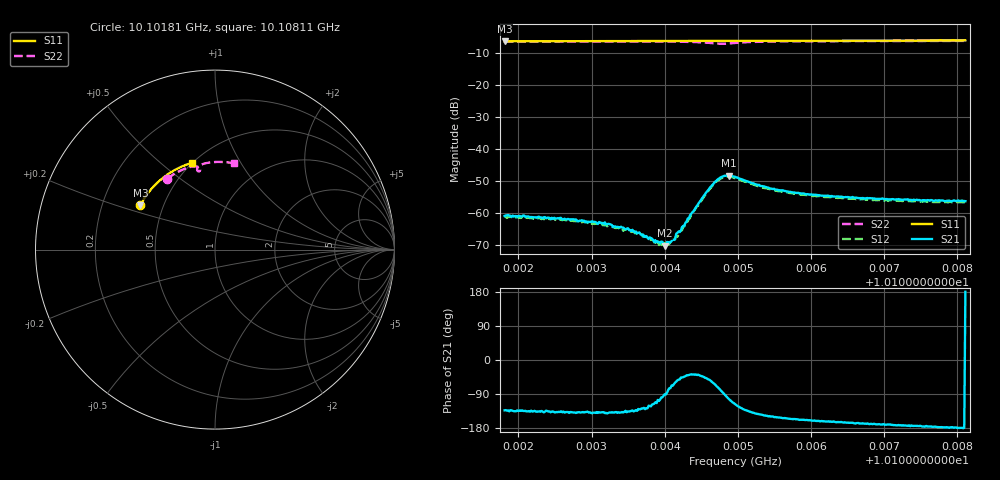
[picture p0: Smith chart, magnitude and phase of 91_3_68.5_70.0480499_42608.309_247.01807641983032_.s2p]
#  HZ  S  RI  R  50.00
! Rohde & Schwarz Vector Network Analyzer
! Rohde-Schwarz,ZNB20-2Port,1311601062101988,3.16
! Created: UTC 3/20/2024, 5:07:49 PM
! freq[Hz]  re:S11  im:S11  re:S21  im:S21  re:S12  im:S12  re:S22  im:S22
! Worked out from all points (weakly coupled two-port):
!   401 points, 10.10181 GHz to 10.10811 GHz, reference 50 ohm
!   highest |S21| = -48.23 dB at 10.10488 GHz (marker M1); lowest = -70.1 dB at 10.104 GHz (marker M2)
!   lowest |S11| = -6.3 dB at 10.10181 GHz (marker M3), VSWR 2.88, Z = 18.5 + j12 ohm
!   |S11| at or under -10 dB: nowhere
!   |S22| runs from -7.0 to -6.2 dB; largest |S21 - S12| = 0.0004
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1.0101811e10  -0.4161 0.2478  -0.000614 -0.000664  -0.000544 -0.000686  -0.2657 0.3956
1.0102551e10  -0.3932 0.2866  -0.000601 -0.000565  -0.00054 -0.000576  -0.2255 0.4224
1.0102866e10  -0.3825 0.3024  -0.000579 -0.00052  -0.000495 -0.000527  -0.2073 0.4325
1.0103212e10  -0.3698 0.3191  -0.000522 -0.000424  -0.000428 -0.000456  -0.1866 0.4426
1.0103323e10  -0.3657 0.3245  -0.000462 -0.000419  -0.000411 -0.000423  -0.1798 0.4457
1.0103496e10  -0.359 0.3326  -0.000416 -0.000409  -0.000364 -0.000439  -0.1686 0.4502
1.0103921e10  -0.3418 0.3519  -0.000111 -0.000335  -5.15e-05 -0.000316  -0.1399 0.4598
1.0103952e10  -0.3405 0.3533  -5.52e-05 -0.000358  -2.57e-05 -0.000333  -0.1377 0.4604
1.0103999e10  -0.3385 0.3553  -1.79e-06 -0.000311  1.08e-05 -0.000343  -0.1341 0.4613
1.0104078e10  -0.3352 0.3588  9.61e-05 -0.00034  0.000134 -0.000328  -0.1282 0.4624
1.010411e10  -0.334 0.3601  0.000146 -0.000358  0.000179 -0.00031  -0.1256 0.4627
1.0104141e10  -0.3326 0.3616  0.000198 -0.000338  0.000232 -0.000331  -0.1231 0.4631
1.0104236e10  -0.3283 0.3656  0.000422 -0.00044  0.000405 -0.000364  -0.1152 0.4639
1.0104519e10  -0.316 0.3773  0.00128 -0.00123  0.00132 -0.00104  -0.0897 0.4581
1.0104676e10  -0.3088 0.3836  0.00138 -0.00267  0.00155 -0.00243  -0.0819 0.4439
1.0104786e10  -0.3038 0.3877  0.000347 -0.00369  0.00065 -0.00353  -0.089 0.4359
1.0104881e10  -0.2995 0.3916  -0.000922 -0.00377  -0.000524 -0.00369  -0.0974 0.4393
1.010496e10  -0.296 0.3946  -0.00165 -0.00333  -0.00128 -0.00329  -0.0998 0.4469
1.0105448e10  -0.2726 0.4128  -0.00209 -0.00125  -0.00189 -0.00139  -0.0699 0.4759
1.0106014e10  -0.244 0.432  -0.00184 -0.000671  -0.00167 -0.000821  -0.0298 0.4851
1.0107069e10  -0.1876 0.4618  -0.00163 -0.000278  -0.00154 -0.000406  0.0402 0.4882
1.0108108e10  -0.1288 0.4835  -0.00155 2.78e-06  -0.00148 -0.000168  0.107 0.4806
